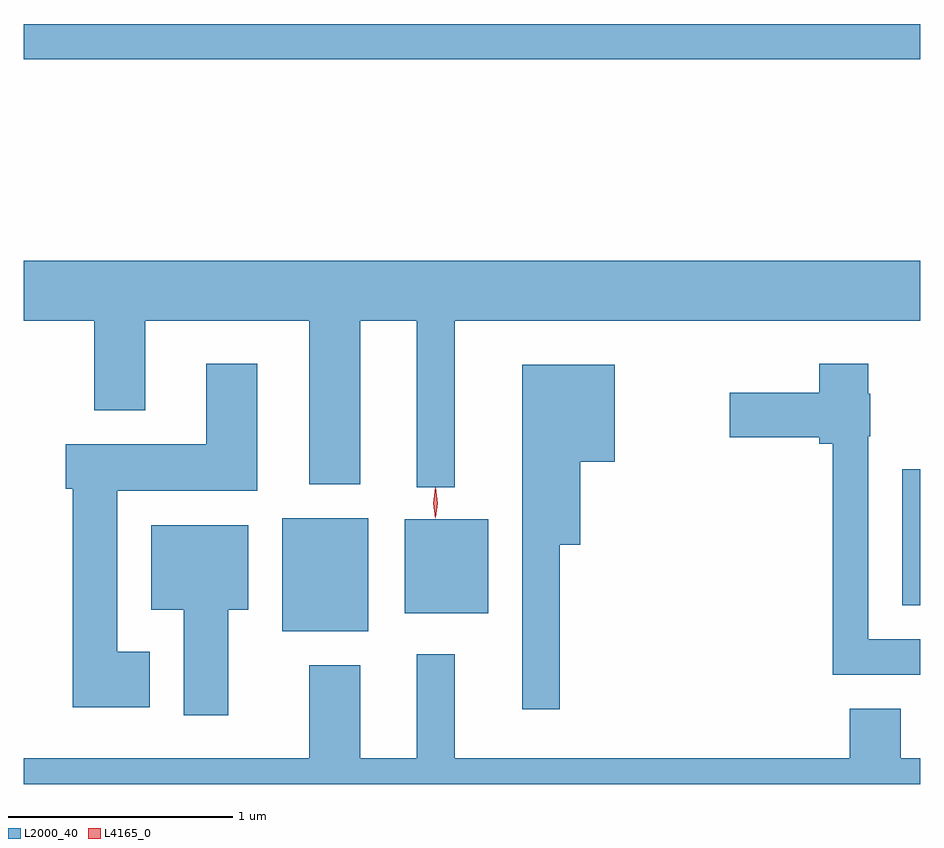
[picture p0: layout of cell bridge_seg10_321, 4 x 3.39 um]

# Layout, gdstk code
import gdstk
lib = gdstk.Library(unit=1e-6, precision=1e-09)
def R(c, l, rs):  # rectangles x0, y0, x1, y1
    for r in rs: c.add(gdstk.rectangle(r[:2], r[2:], *l))
def P(c, l, *ps):  # polygons
    for p in ps: c.add(gdstk.Polygon(p, *l))
L2000_40 = (2000, 40)
L4165_0 = (4165, 0)

bridge_seg10_321 = lib.new_cell('bridge_seg10_321')
R(bridge_seg10_321, L2000_40, [(1316.241,2188.011,1316.624,2188.514), (1316.786,2188.091,1317.159,2188.509), (1319.006,2188.126,1319.087,2188.734), (1315.087,2190.561,1319.087,2190.719)])
P(bridge_seg10_321, L2000_40, [(1317.009,2189.396),(1319.087,2189.396),(1319.087,2189.664),(1315.087,2189.664),(1315.087,2189.396),(1315.401,2189.396),(1315.401,2188.996),(1315.629,2188.996),(1315.629,2189.396),(1316.361,2189.396),(1316.361,2188.666),(1316.589,2188.666),(1316.589,2189.396),(1316.841,2189.396),(1316.841,2188.653),(1317.009,2188.653)],
  [(1315.649,2187.919),(1315.504,2187.919),(1315.504,2188.636),(1316.129,2188.636),(1316.129,2189.204),(1315.901,2189.204),(1315.901,2188.844),(1315.276,2188.844),(1315.276,2188.646),(1315.306,2188.646),(1315.306,2187.671),(1315.649,2187.671)],
  [(1319.087,2187.974),(1318.854,2187.974),(1318.854,2188.88),(1318.864,2188.88),(1318.864,2189.07),(1318.854,2189.07),(1318.854,2189.204),(1318.636,2189.204),(1318.636,2189.074),(1318.236,2189.074),(1318.236,2188.876),(1318.636,2188.876),(1318.636,2188.846),(1318.696,2188.846),(1318.696,2187.816),(1319.087,2187.816)],
  [(1317.479,2188.396),(1317.569,2188.396),(1317.569,2188.766),(1317.724,2188.766),(1317.724,2189.199),(1317.311,2189.199),(1317.311,2187.663),(1317.479,2187.663)],
  [(1315.999,2188.106),(1316.089,2188.106),(1316.089,2188.484),(1315.656,2188.484),(1315.656,2188.106),(1315.801,2188.106),(1315.801,2187.636),(1315.999,2187.636)],
  [(1319.087,2187.444),(1318.999,2187.444),(1318.999,2187.664),(1318.771,2187.664),(1318.771,2187.444),(1317.009,2187.444),(1317.009,2187.908),(1316.841,2187.908),(1316.841,2187.444),(1316.589,2187.444),(1316.589,2187.859),(1316.361,2187.859),(1316.361,2187.444),(1315.087,2187.444),(1315.087,2187.329),(1319.087,2187.329)])
P(bridge_seg10_321, L4165_0, [(1316.924,2188.514),(1316.924,2188.514),(1316.914,2188.582),(1316.924,2188.65),(1316.925,2188.65),(1316.926,2188.65),(1316.934,2188.582),(1316.924,2188.514)],
  [(1316.924,2188.518),(1316.915,2188.582),(1316.924,2188.646),(1316.925,2188.647),(1316.925,2188.646),(1316.935,2188.582),(1316.925,2188.518),(1316.925,2188.518)])

lib.write_gds('bridge_seg10_321.gds')
